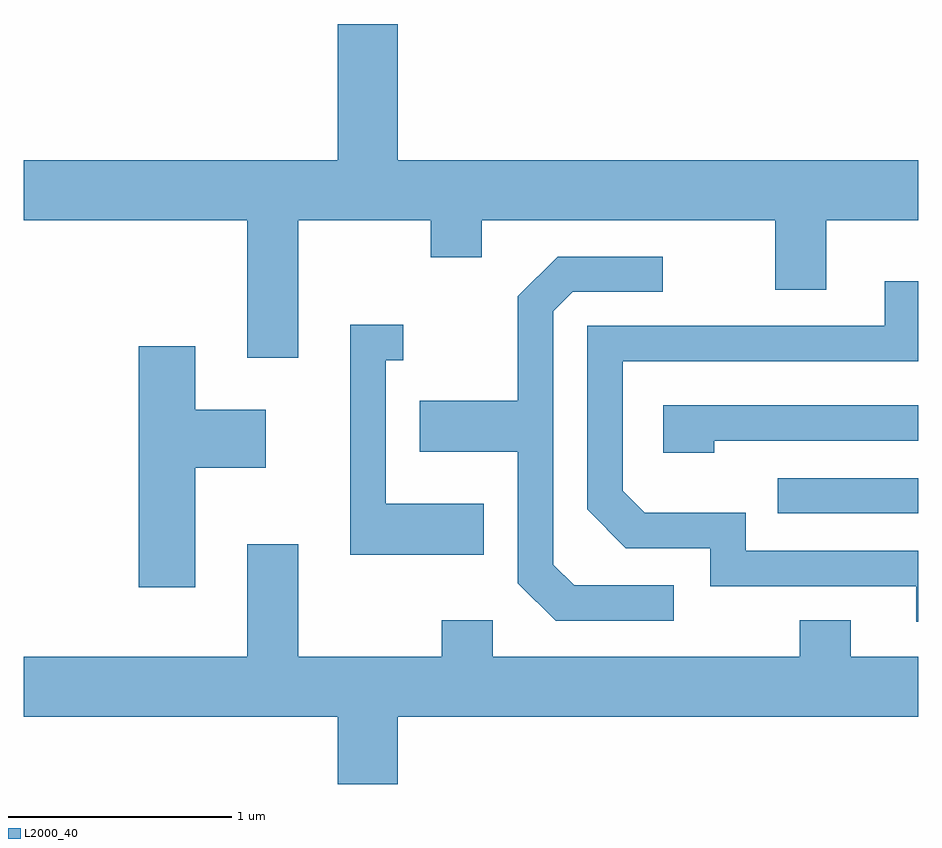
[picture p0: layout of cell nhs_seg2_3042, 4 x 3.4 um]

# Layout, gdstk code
import gdstk
lib = gdstk.Library(unit=1e-6, precision=1e-09)
def R(c, l, rs):  # rectangles x0, y0, x1, y1
    for r in rs: c.add(gdstk.rectangle(r[:2], r[2:], *l))
def P(c, l, *ps):  # polygons
    for p in ps: c.add(gdstk.Polygon(p, *l))
L2000_40 = (2000, 40)

nhs_seg2_3042 = lib.new_cell('nhs_seg2_3042')
R(nhs_seg2_3042, L2000_40, [(276.983,1091.406,277.611,1091.564)])
P(nhs_seg2_3042, L2000_40, [(274.839,1092.716),(275.431,1092.716),(275.431,1092.551),(275.659,1092.551),(275.659,1092.716),(276.971,1092.716),(276.971,1092.406),(277.199,1092.406),(277.199,1092.716),(277.611,1092.716),(277.611,1092.984),(275.284,1092.984),(275.284,1093.594),(275.016,1093.594),(275.016,1092.984),(273.611,1092.984),(273.611,1092.716),(274.611,1092.716),(274.611,1092.101),(274.839,1092.101)],
  [(276.518,1091.084),(276.072,1091.084),(275.979,1091.177),(275.979,1092.309),(276.067,1092.396),(276.468,1092.396),(276.468,1092.554),(275.999,1092.554),(275.821,1092.377),(275.821,1091.909),(275.381,1091.909),(275.381,1091.681),(275.821,1091.681),(275.821,1091.094),(275.989,1090.926),(276.518,1090.926)],
  [(277.611,1091.239),(276.839,1091.239),(276.839,1091.409),(276.387,1091.409),(276.289,1091.507),(276.289,1092.086),(277.611,1092.086),(277.611,1092.443),(277.461,1092.443),(277.461,1092.244),(276.131,1092.244),(276.131,1091.424),(276.304,1091.251),(276.681,1091.251),(276.681,1091.081),(277.601,1091.081),(277.601,1090.921),(277.611,1090.921)],
  [(275.669,1091.449),(275.229,1091.449),(275.229,1092.091),(275.308,1092.091),(275.308,1092.249),(275.071,1092.249),(275.071,1091.221),(275.669,1091.221)],
  [(274.379,1091.611),(274.694,1091.611),(274.694,1091.869),(274.379,1091.869),(274.379,1092.154),(274.126,1092.154),(274.126,1091.076),(274.379,1091.076)],
  [(276.699,1091.731),(277.611,1091.731),(277.611,1091.889),(276.471,1091.889),(276.471,1091.676),(276.699,1091.676)],
  [(275.284,1090.496),(277.611,1090.496),(277.611,1090.764),(277.309,1090.764),(277.309,1090.929),(277.081,1090.929),(277.081,1090.764),(275.709,1090.764),(275.709,1090.929),(275.481,1090.929),(275.481,1090.764),(274.839,1090.764),(274.839,1091.269),(274.611,1091.269),(274.611,1090.764),(273.611,1090.764),(273.611,1090.496),(275.016,1090.496),(275.016,1090.196),(275.284,1090.196)])

lib.write_gds('nhs_seg2_3042.gds')
